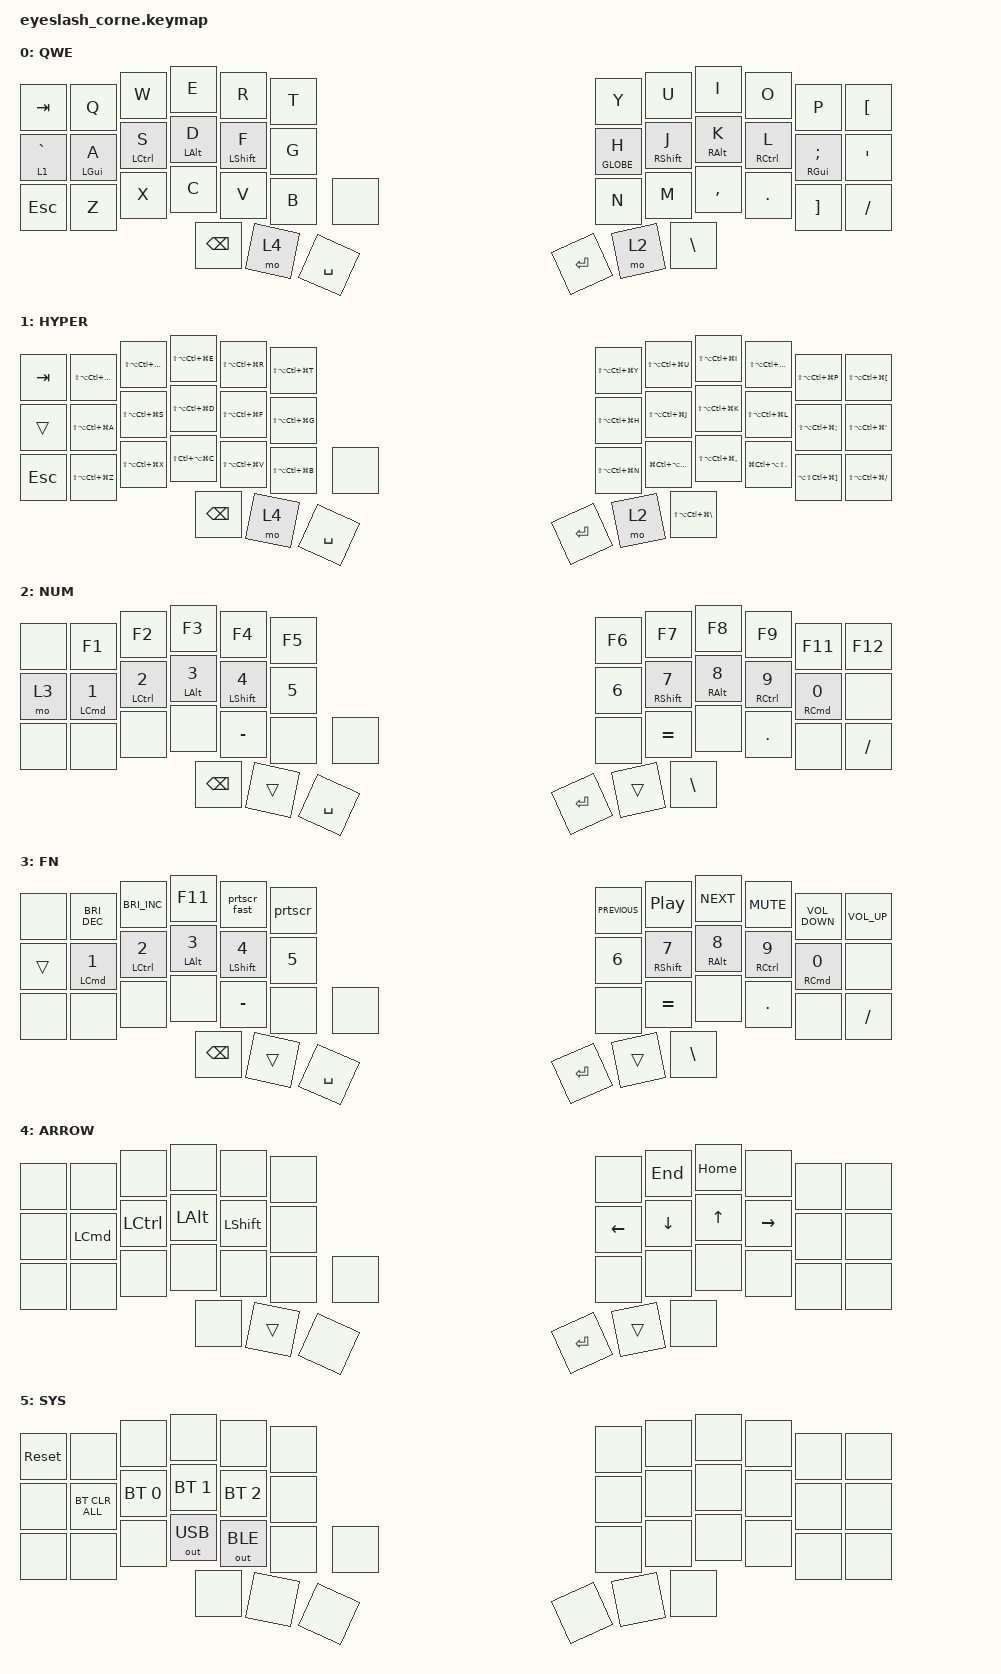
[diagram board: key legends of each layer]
#define ZMK_POINTING_DEFAULT_MOVE_VAL 1200  // 600
#define ZMK_POINTING_DEFAULT_SCRL_VAL 25   // 10

#include <input/processors.dtsi>
#include <zephyr/dt-bindings/input/input-event-codes.h>
#include <behaviors/runtime-sensor-rotate.dtsi>
#include <behaviors.dtsi>
#include <dt-bindings/zmk/bt.h>
#include <dt-bindings/zmk/keys.h>
#include <dt-bindings/zmk/outputs.h>

&mmv_input_listener { input-processors = <&zip_xy_scaler 2 1>; };

&msc_input_listener { input-processors = <&zip_scroll_scaler 2 1>; };

&msc {
    acceleration-exponent = <1>;      // 0
    time-to-max-speed-ms = <100>;       // 300
    delay-ms = <0>;                   // 0
};

&mmv {
    time-to-max-speed-ms = <500>;
    acceleration-exponent = <1>;
    trigger-period-ms = <16>;
};

/ {
    behaviors {
        hml: homewrow_mods_left {
            compatible = "zmk,behavior-hold-tap";
            label = "HOMEROW_MODS_LEFT_HAND";
            bindings = <&kp>, <&kp>;

            #binding-cells = <2>;
            tapping-term-ms = <175>;
            hold-trigger-key-positions = <6 7 8 9 10 11 23 22 31 32 33 34 35 18 19 20 21 36 42>;
            flavor = "balanced";
        };

        hmr: homewrow_mods_right {
            compatible = "zmk,behavior-hold-tap";
            label = "HOMEROW_MODS_RIGHT_HAND";
            bindings = <&kp>, <&kp>;

            #binding-cells = <2>;
            tapping-term-ms = <175>;
            hold-trigger-key-positions = <29 17 5 0 1 2 3 4 12 13 14 15 16 24 25 26 27 28>;
            flavor = "balanced";
        };

        hyper_beh: hyper_beh {
            compatible = "zmk,behavior-hold-tap";
            label = "HYPER_BEH";
            bindings = <&mo>, <&kp>;

            #binding-cells = <2>;
            tapping-term-ms = <175>;
            flavor = "balanced";
            hold-trigger-key-positions = <1 2 3 4 5 6 7 8 9 10 11 13 14 15 16 17 18 19 20 21 22 23 25 26 27 28 29 31 32 33 34 35 36 42 40 39 37 0 24>;
        };
    };

    macros {
        prtscr: prtscr {
            compatible = "zmk,behavior-macro";
            #binding-cells = <0>;
            bindings = <&kp LS(LG(N4))>;
            label = "PRTSCR";
        };

        prtscr_fast: prtscr_fast {
            compatible = "zmk,behavior-macro";
            #binding-cells = <0>;
            bindings = <&kp LS(LG(N3))>;
            label = "PRTSCR_FAST";
        };
    };

    combos {
        compatible = "zmk,combos";

        system_combo {
            bindings = <&mo 5>;
            key-positions = <38 41>;
        };

        zoom_in {
            bindings = <&kp LG(LS(EQUAL))>;
            key-positions = <41 13 16 32>;
        };

        zoom_out {
            bindings = <&kp LG(LS(MINUS))>;
            key-positions = <41 19 22 28>;
        };

        next_space {
            bindings = <&kp LC(RIGHT)>;
            key-positions = <38 14 21>;
        };

        prev_space {
            bindings = <&kp LC(LEFT)>;
            key-positions = <38 14 18>;
        };
    };

    keymap {
        compatible = "zmk,keymap";

        default_layer {
            display-name = "QWE";
            bindings = <
&kp TAB             &kp Q        &kp W         &kp E        &kp R         &kp T                                    &kp Y         &kp U          &kp I          &kp O         &kp P              &kp LEFT_BRACKET
&hyper_beh 1 GRAVE  &hml LGUI A  &hml LCTRL S  &hml LALT D  &hml LSHFT F  &kp G                                    &hmr GLOBE H  &hmr RSHIFT J  &hmr RALT K    &hmr RCTRL L  &hmr RGUI SEMI     &kp SQT
&kp ESCAPE          &kp Z        &kp X         &kp C        &kp V         &kp B      &none                         &kp N         &kp M          &kp COMMA      &kp DOT       &kp RIGHT_BRACKET  &kp SLASH
                                               &kp BSPC     &mo 4         &kp SPACE                                &kp ENTER     &mo 2          &kp BACKSLASH
            >;
        };

        hyper_layer {
            display-name = "HYPER";
            bindings = <
&kp TAB     &kp LS(LA(LC(LG(Q))))  &kp LS(LA(LC(LG(W))))  &kp LS(LA(LC(LG(E))))  &kp LS(LA(LC(LG(R))))  &kp LS(LA(LC(LG(T))))                                &kp LS(LA(LC(LG(Y))))  &kp LS(LA(LC(LG(U))))  &kp LS(LA(LC(LG(I))))          &kp LS(LA(LC(LG(O))))    &kp LS(LA(LC(LG(P))))              &kp LS(LA(LC(LG(LEFT_BRACKET))))
&trans      &kp LS(LA(LC(LG(A))))  &kp LS(LA(LC(LG(S))))  &kp LS(LA(LC(LG(D))))  &kp LS(LA(LC(LG(F))))  &kp LS(LA(LC(LG(G))))                                &kp LS(LA(LC(LG(H))))  &kp LS(LA(LC(LG(J))))  &kp LS(LA(LC(LG(K))))          &kp LS(LA(LC(LG(L))))    &kp LS(LA(LC(LG(SEMI))))           &kp LS(LA(LC(LG(SQT))))
&kp ESCAPE  &kp LS(LA(LC(LG(Z))))  &kp LS(LA(LC(LG(X))))  &kp LS(LC(LA(LG(C))))  &kp LS(LA(LC(LG(V))))  &kp LS(LA(LC(LG(B))))  &none                         &kp LS(LA(LC(LG(N))))  &kp LG(LC(LA(LS(M))))  &kp LS(LA(LC(LG(COMMA))))      &kp LG(LC(LA(LS(DOT))))  &kp LA(LS(LC(LG(RIGHT_BRACKET))))  &kp LS(LA(LC(LG(SLASH))))
                                                          &kp BSPC               &mo 4                  &kp SPACE                                            &kp ENTER              &mo 2                  &kp LS(LA(LC(LG(BACKSLASH))))
            >;
        };

        number_layer {
            display-name = "NUM";
            bindings = <
&none  &kp F1                &kp F2                &kp F3            &kp F4              &kp F5                                   &kp F6     &kp F7               &kp F8             &kp F9                 &kp F11                &kp F12
&mo 3  &hml LEFT_COMMAND N1  &hml LEFT_CONTROL N2  &hml LEFT_ALT N3  &hml LEFT_SHIFT N4  &kp N5                                   &kp N6     &hmr RIGHT_SHIFT N7  &hmr RIGHT_ALT N8  &hmr RIGHT_CONTROL N9  &hmr RIGHT_COMMAND N0  &none
&none  &none                 &none                 &none             &kp MINUS           &none      &none                         &none      &kp EQUAL            &none              &kp DOT                &none                  &kp SLASH
                                                   &kp BSPC          &trans              &kp SPACE                                &kp ENTER  &trans               &kp BACKSLASH
            >;
        };

        number_fn_layer {
            display-name = "FN";
            bindings = <
&none   &kp C_BRIGHTNESS_DEC  &kp C_BRIGHTNESS_INC  &kp F11           &prtscr_fast        &prtscr                                  &kp C_PREVIOUS  &kp C_PLAY_PAUSE     &kp C_NEXT         &kp C_MUTE             &kp C_VOLUME_DOWN      &kp C_VOLUME_UP
&trans  &hml LEFT_COMMAND N1  &hml LEFT_CONTROL N2  &hml LEFT_ALT N3  &hml LEFT_SHIFT N4  &kp N5                                   &kp N6          &hmr RIGHT_SHIFT N7  &hmr RIGHT_ALT N8  &hmr RIGHT_CONTROL N9  &hmr RIGHT_COMMAND N0  &none
&none   &none                 &none                 &none             &kp MINUS           &none      &none                         &none           &kp EQUAL            &none              &kp DOT                &none                  &kp SLASH
                                                    &kp BSPC          &trans              &kp SPACE                                &kp ENTER       &trans               &kp BACKSLASH
            >;
        };

        arrow_layer {
            bindings = <
&none  &none             &none             &none         &none           &none                                &none      &kp END   &kp HOME  &none      &none  &none
&none  &kp LEFT_COMMAND  &kp LEFT_CONTROL  &kp LEFT_ALT  &kp LEFT_SHIFT  &none                                &kp LEFT   &kp DOWN  &kp UP    &kp RIGHT  &none  &none
&none  &none             &none             &none         &none           &none  &none                         &none      &none     &none     &none      &none  &none
                                           &none         &trans          &none                                &kp ENTER  &trans    &none
            >;

            label = "ARROW";
        };

        sys_layer {
            display-name = "SYS";
            bindings = <
&sys_reset  &none           &none         &none         &none         &none                                &none  &none  &none  &none  &none  &none
&none       &bt BT_CLR_ALL  &bt BT_SEL 0  &bt BT_SEL 1  &bt BT_SEL 2  &none                                &none  &none  &none  &none  &none  &none
&none       &none           &none         &out OUT_USB  &out OUT_BLE  &none  &none                         &none  &none  &none  &none  &none  &none
                                          &none         &none         &none                                &none  &none  &none
            >;
        };
    };
};
